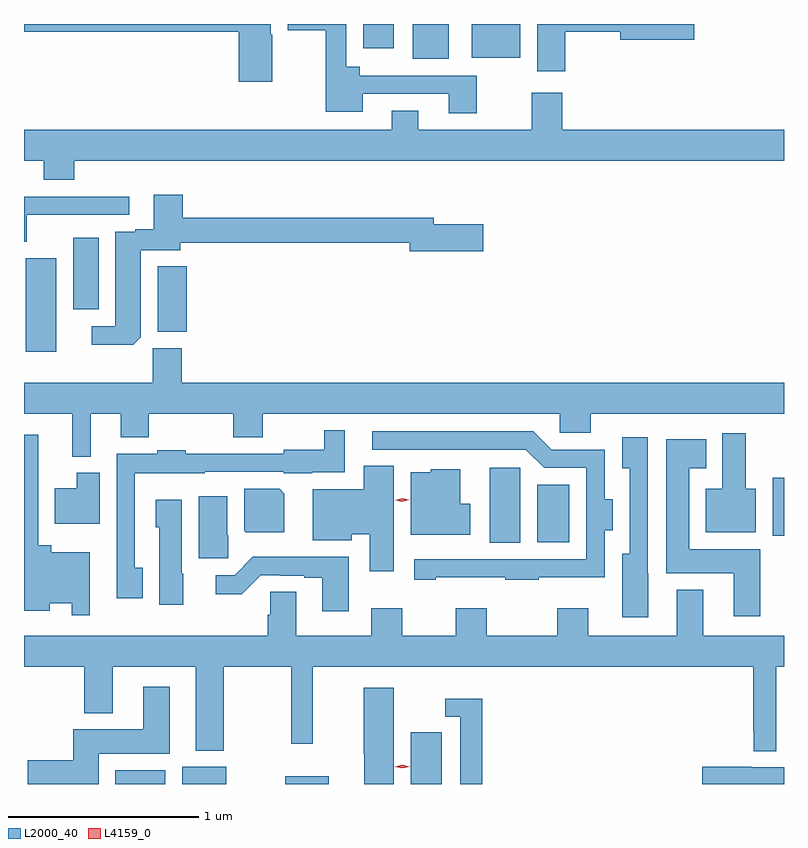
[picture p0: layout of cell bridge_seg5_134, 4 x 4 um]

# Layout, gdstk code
import gdstk
lib = gdstk.Library(unit=1e-6, precision=1e-09)
def R(c, l, rs):  # rectangles x0, y0, x1, y1
    for r in rs: c.add(gdstk.rectangle(r[:2], r[2:], *l))
def P(c, l, *ps):  # polygons
    for p in ps: c.add(gdstk.Polygon(p, *l))
L2000_40 = (2000, 40)
L4159_0 = (4159, 0)

bridge_seg5_134 = lib.new_cell('bridge_seg5_134')
R(bridge_seg5_134, L2000_40, [(256.148,886.78,256.411,886.852), (256.499,886.78,256.732,886.87), (257.042,886.78,257.272,886.822), (257.702,886.78,257.866,887.053), (258.119,888.049,258.28,888.445), (258.368,888.053,258.538,888.355), (259.607,888.086,259.667,888.391), (255.677,889.056,255.838,889.546), (256.37,889.159,256.523,889.505), (255.926,889.278,256.06,889.654), (257.714,890.597,257.902,890.78), (258.023,890.603,258.28,890.78), (257.453,890.652,257.614,890.78)])
P(bridge_seg5_134, L2000_40, [(258.515,890.74),(258.806,890.74),(258.806,890.698),(259.195,890.698),(259.195,890.78),(258.368,890.78),(258.368,890.532),(258.515,890.532)],
  [(256.974,890.723),(256.966,890.723),(256.966,890.78),(255.667,890.78),(255.667,890.74),(256.796,890.74),(256.796,890.475),(256.974,890.475)],
  [(258.051,890.508),(257.434,890.508),(257.434,890.554),(257.364,890.554),(257.364,890.78),(257.054,890.78),(257.054,890.747),(257.256,890.747),(257.256,890.318),(257.449,890.318),(257.449,890.412),(257.903,890.412),(257.903,890.31),(258.051,890.31)],
  [(255.932,890.06),(259.667,890.06),(259.667,890.224),(258.5,890.224),(258.5,890.419),(258.34,890.419),(258.34,890.224),(257.743,890.224),(257.743,890.323),(257.603,890.323),(257.603,890.224),(255.667,890.224),(255.667,890.06),(255.772,890.06),(255.772,889.961),(255.932,889.961)],
  [(256.282,889.132),(256.282,889.59),(256.489,889.59),(256.489,889.63),(257.696,889.63),(257.696,889.583),(258.085,889.583),(258.085,889.725),(257.824,889.725),(257.824,889.759),(256.502,889.759),(256.502,889.882),(256.349,889.882),(256.349,889.699),(256.253,889.699),(256.253,889.686),(256.148,889.686),(256.148,889.188),(256.023,889.188),(256.023,889.091),(256.241,889.091)],
  [(255.681,889.776),(256.222,889.776),(256.222,889.872),(255.667,889.872),(255.667,889.635),(255.681,889.635)],
  [(256.018,888.728),(256.175,888.728),(256.175,888.604),(256.323,888.604),(256.323,888.728),(256.767,888.728),(256.767,888.604),(256.923,888.604),(256.923,888.728),(258.486,888.728),(258.486,888.63),(258.65,888.63),(258.65,888.728),(259.667,888.728),(259.667,888.892),(256.496,888.892),(256.496,889.074),(256.345,889.074),(256.345,888.892),(255.667,888.892),(255.667,888.728),(255.92,888.728),(255.92,888.503),(256.018,888.503)],
  [(256.291,887.918),(256.251,887.918),(256.251,888.416),(256.617,888.416),(256.617,888.423),(257.034,888.423),(257.034,888.416),(257.184,888.416),(257.184,888.422),(257.356,888.422),(257.356,888.643),(257.247,888.643),(257.247,888.538),(257.034,888.538),(257.034,888.519),(256.518,888.519),(256.518,888.537),(256.368,888.537),(256.368,888.519),(256.155,888.519),(256.155,887.997),(256.154,887.997),(256.154,887.757),(256.291,887.757)],
  [(257.833,887.867),(258.199,887.867),(258.199,887.856),(258.377,887.856),(258.377,887.867),(258.723,887.867),(258.723,888.116),(258.766,888.116),(258.766,888.28),(258.724,888.28),(258.724,888.54),(258.444,888.54),(258.348,888.636),(257.499,888.636),(257.499,888.54),(258.309,888.54),(258.405,888.444),(258.627,888.444),(258.627,887.964),(257.721,887.964),(257.721,887.856),(257.833,887.856)],
  [(259.519,888.334),(259.465,888.334),(259.465,888.625),(259.343,888.625),(259.343,888.334),(259.256,888.334),(259.256,888.104),(259.519,888.104)],
  [(256.014,888.001),(255.81,888.001),(255.81,888.037),(255.741,888.037),(255.741,888.619),(255.667,888.619),(255.667,887.693),(255.802,887.693),(255.802,887.732),(255.918,887.732),(255.918,887.667),(256.014,887.667)],
  [(258.952,887.888),(258.951,887.888),(258.951,888.604),(258.815,888.604),(258.815,888.443),(258.855,888.443),(258.855,887.992),(258.815,887.992),(258.815,887.658),(258.952,887.658)],
  [(259.543,888.016),(259.168,888.016),(259.168,888.443),(259.258,888.443),(259.258,888.595),(259.046,888.595),(259.046,887.888),(259.403,887.888),(259.403,887.664),(259.543,887.664)],
  [(257.614,888.455),(257.456,888.455),(257.456,888.332),(257.186,888.332),(257.186,888.062),(257.392,888.062),(257.392,888.095),(257.486,888.095),(257.486,887.901),(257.614,887.901)],
  [(258.016,888.256),(257.962,888.256),(257.962,888.436),(257.808,888.436),(257.808,888.421),(257.702,888.421),(257.702,888.092),(258.016,888.092)],
  [(256.066,888.418),(255.944,888.418),(255.944,888.337),(255.83,888.337),(255.83,888.149),(256.066,888.149)],
  [(257.038,888.308),(257.012,888.334),(256.826,888.334),(256.826,888.112),(256.834,888.104),(257.038,888.104)],
  [(256.742,888.09),(256.738,888.09),(256.738,888.295),(256.586,888.295),(256.586,887.967),(256.742,887.967)],
  [(256.504,887.886),(256.498,887.886),(256.498,888.277),(256.361,888.277),(256.361,888.132),(256.379,888.132),(256.379,887.724),(256.504,887.724)],
  [(257.377,887.975),(256.871,887.975),(256.776,887.88),(256.677,887.88),(256.677,887.778),(256.812,887.778),(256.914,887.88),(257.014,887.88),(257.014,887.877),(257.141,887.877),(257.141,887.865),(257.237,887.865),(257.237,887.688),(257.377,887.688)],
  [(259.627,887.396),(259.667,887.396),(259.667,887.56),(259.243,887.56),(259.243,887.803),(259.103,887.803),(259.103,887.56),(258.637,887.56),(258.637,887.704),(258.473,887.704),(258.473,887.56),(258.103,887.56),(258.103,887.704),(257.939,887.704),(257.939,887.56),(257.659,887.56),(257.659,887.704),(257.495,887.704),(257.495,887.56),(257.101,887.56),(257.101,887.792),(256.962,887.792),(256.962,887.67),(256.949,887.67),(256.949,887.56),(255.667,887.56),(255.667,887.396),(255.983,887.396),(255.983,887.153),(256.135,887.153),(256.135,887.396),(256.571,887.396),(256.571,886.955),(256.719,886.955),(256.719,887.396),(257.073,887.396),(257.073,886.992),(257.186,886.992),(257.186,887.396),(259.506,887.396),(259.506,887.059),(259.507,887.059),(259.507,886.952),(259.627,886.952)],
  [(256.06,886.94),(256.435,886.94),(256.435,887.293),(256.295,887.293),(256.295,887.068),(255.926,887.068),(255.926,886.904),(255.687,886.904),(255.687,886.78),(256.06,886.78)],
  [(257.614,887.287),(257.456,887.287),(257.456,886.938),(257.459,886.938),(257.459,886.78),(257.614,886.78)],
  [(258.08,887.23),(257.883,887.23),(257.883,887.133),(257.964,887.133),(257.964,886.78),(258.08,886.78)],
  [(259.667,886.867),(259.494,886.867),(259.494,886.872),(259.238,886.872),(259.238,886.78),(259.667,886.78)])
P(bridge_seg5_134, L4159_0, [(257.658,886.862),(257.618,886.872),(257.618,886.872),(257.618,886.872),(257.658,886.882),(257.698,886.872),(257.698,886.872),(257.698,886.872)],
  [(257.658,888.265),(257.62,888.274),(257.62,888.274),(257.62,888.274),(257.658,888.285),(257.695,888.276),(257.695,888.276),(257.695,888.275)])

lib.write_gds('bridge_seg5_134.gds')
